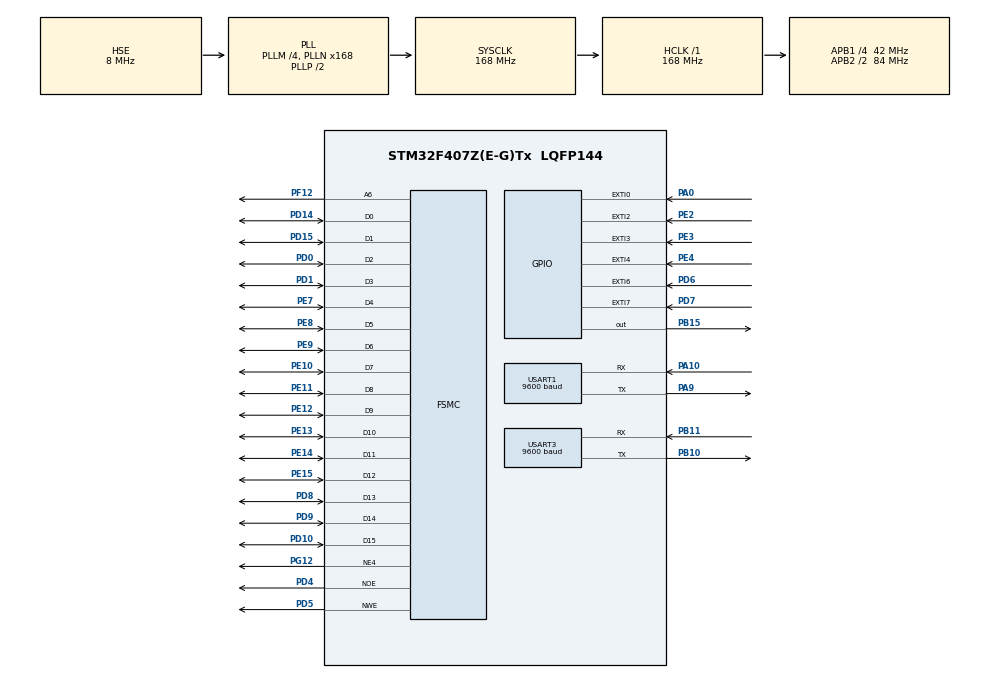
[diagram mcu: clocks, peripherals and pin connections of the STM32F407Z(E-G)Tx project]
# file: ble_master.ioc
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FSMC.BusTurnAroundDuration1=0
FSMC.DataSetupTime1=60
FSMC.ExtendedAddressSetupTime1=9
FSMC.ExtendedBusTurnAroundDuration1=0
FSMC.ExtendedDataSetupTime1=8
FSMC.ExtendedMode1=FSMC_EXTENDED_MODE_ENABLE
Mcu.Family=STM32F4
Mcu.Name=STM32F407Z(E-G)Tx
Mcu.Package=LQFP144
NVIC.EXTI0_IRQn=true\:4\:0\:true\:false\:true\:true\:true\:true
NVIC.EXTI2_IRQn=true\:3\:0\:true\:false\:true\:true\:true\:true
NVIC.EXTI3_IRQn=true\:2\:0\:true\:false\:true\:true\:true\:true
NVIC.EXTI4_IRQn=true\:1\:0\:true\:false\:true\:true\:true\:true
NVIC.EXTI9_5_IRQn=true\:5\:0\:true\:false\:true\:true\:true\:true
NVIC.PriorityGroup=NVIC_PRIORITYGROUP_4
NVIC.USART1_IRQn=true\:7\:0\:true\:false\:true\:true\:true\:true
NVIC.USART3_IRQn=true\:6\:0\:true\:false\:true\:true\:true\:true
PA0-WKUP.Signal=GPXTI0
PA10.Mode=Asynchronous
PA10.Signal=USART1_RX
PA13.Mode=Serial_Wire
PA13.Signal=SYS_JTMS-SWDIO
PA14.Mode=Serial_Wire
PA14.Signal=SYS_JTCK-SWCLK
PA9.Mode=Asynchronous
PA9.Signal=USART1_TX
PB10.Mode=Asynchronous
PB10.Signal=USART3_TX
PB11.Mode=Asynchronous
PB11.Signal=USART3_RX
PB15.GPIO_ModeDefaultOutputPP=GPIO_MODE_OUTPUT_PP
PB15.GPIO_PuPd=GPIO_NOPULL
PB15.GPIO_Speed=GPIO_SPEED_FREQ_VERY_HIGH
PB15.PinState=GPIO_PIN_SET
PB15.Signal=GPIO_Output
PC14-OSC32_IN.Mode=LSE-External-Oscillator
PC14-OSC32_IN.Signal=RCC_OSC32_IN
PC15-OSC32_OUT.Mode=LSE-External-Oscillator
PC15-OSC32_OUT.Signal=RCC_OSC32_OUT
PD0.Signal=FSMC_D2_DA2
PD1.Signal=FSMC_D3_DA3
PD10.Signal=FSMC_D15_DA15
PD14.Signal=FSMC_D0_DA0
PD15.Signal=FSMC_D1_DA1
PD4.Signal=FSMC_NOE
PD5.Signal=FSMC_NWE
PD6.GPIO_ModeDefaultEXTI=GPIO_MODE_IT_FALLING
PD6.GPIO_PuPd=GPIO_PULLUP
PD6.Signal=GPXTI6
PD7.GPIO_ModeDefaultEXTI=GPIO_MODE_IT_FALLING
PD7.GPIO_PuPd=GPIO_PULLUP
PD7.Signal=GPXTI7
PD8.Signal=FSMC_D13_DA13
PD9.Signal=FSMC_D14_DA14
PE10.Signal=FSMC_D7_DA7
PE11.Signal=FSMC_D8_DA8
PE12.Signal=FSMC_D9_DA9
PE13.Signal=FSMC_D10_DA10
PE14.Signal=FSMC_D11_DA11
PE15.Signal=FSMC_D12_DA12
PE2.GPIO_ModeDefaultEXTI=GPIO_MODE_IT_FALLING
PE2.GPIO_PuPd=GPIO_PULLUP
PE2.Signal=GPXTI2
PE3.GPIO_ModeDefaultEXTI=GPIO_MODE_IT_FALLING
PE3.GPIO_PuPd=GPIO_PULLUP
PE3.Signal=GPXTI3
PE4.GPIO_ModeDefaultEXTI=GPIO_MODE_IT_FALLING
PE4.GPIO_PuPd=GPIO_PULLUP
PE4.Signal=GPXTI4
PE7.Signal=FSMC_D4_DA4
PE8.Signal=FSMC_D5_DA5
PE9.Signal=FSMC_D6_DA6
PF12.Signal=FSMC_A6
PG12.Mode=NorPsramChipSelect4_1
PG12.Signal=FSMC_NE4
PH0-OSC_IN.Mode=HSE-External-Oscillator
PH0-OSC_IN.Signal=RCC_OSC_IN
PH1-OSC_OUT.Mode=HSE-External-Oscillator
PH1-OSC_OUT.Signal=RCC_OSC_OUT
ProjectManager.HeapSize=0x200
ProjectManager.StackSize=0x400
ProjectManager.TargetToolchain=MDK-ARM V5.32
RCC.48MHZClocksFreq_Value=84000000
RCC.AHBFreq_Value=168000000
RCC.APB1CLKDivider=RCC_HCLK_DIV4
RCC.APB1Freq_Value=42000000
RCC.APB1TimFreq_Value=84000000
RCC.APB2CLKDivider=RCC_HCLK_DIV2
RCC.APB2Freq_Value=84000000
RCC.APB2TimFreq_Value=168000000
RCC.CortexFreq_Value=21000000
RCC.Cortex_Div=SYSTICK_CLKSOURCE_HCLK_DIV8
RCC.HCLKFreq_Value=168000000
RCC.HSE_VALUE=8000000
RCC.HSI_VALUE=16000000
RCC.PLLM=4
RCC.PLLN=168
RCC.PLLSourceVirtual=RCC_PLLSOURCE_HSE
RCC.SYSCLKFreq_VALUE=168000000
RCC.SYSCLKSource=RCC_SYSCLKSOURCE_PLLCLK
RCC.VCOOutputFreq_Value=336000000
SH.FSMC_A6.0=FSMC_A6,A6_1
SH.FSMC_D0_DA0.0=FSMC_D0,16b-d1
SH.FSMC_D10_DA10.0=FSMC_D10,16b-d1
SH.FSMC_D11_DA11.0=FSMC_D11,16b-d1
SH.FSMC_D12_DA12.0=FSMC_D12,16b-d1
SH.FSMC_D13_DA13.0=FSMC_D13,16b-d1
SH.FSMC_D14_DA14.0=FSMC_D14,16b-d1
SH.FSMC_D15_DA15.0=FSMC_D15,16b-d1
SH.FSMC_D1_DA1.0=FSMC_D1,16b-d1
SH.FSMC_D2_DA2.0=FSMC_D2,16b-d1
SH.FSMC_D3_DA3.0=FSMC_D3,16b-d1
SH.FSMC_D4_DA4.0=FSMC_D4,16b-d1
SH.FSMC_D5_DA5.0=FSMC_D5,16b-d1
SH.FSMC_D6_DA6.0=FSMC_D6,16b-d1
SH.FSMC_D7_DA7.0=FSMC_D7,16b-d1
SH.FSMC_D8_DA8.0=FSMC_D8,16b-d1
SH.FSMC_D9_DA9.0=FSMC_D9,16b-d1
SH.FSMC_NOE.0=FSMC_NOE,Lcd1
SH.FSMC_NWE.0=FSMC_NWE,Lcd1
USART1.BaudRate=9600
USART1.OverSampling=UART_OVERSAMPLING_8
USART1.VirtualMode=VM_ASYNC
USART3.BaudRate=9600
USART3.OverSampling=UART_OVERSAMPLING_8
USART3.VirtualMode=VM_ASYNC
board=custom

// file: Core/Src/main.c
/* USER CODE BEGIN Header */
/**
  ******************************************************************************
  * @file           : main.c
  * @brief          : Main program body
  ******************************************************************************
  * @attention
  *
  * Copyright (c) 2025 STMicroelectronics.
  * All rights reserved.
  *
  * This software is licensed under terms that can be found in the LICENSE file
  * in the root directory of this software component.
  * If no LICENSE file comes with this software, it is provided AS-IS.
  *
  ******************************************************************************
  */
/* USER CODE END Header */
#include "main.h"
#include "usart.h"
#include "gpio.h"
#include "fsmc.h"

/* USER CODE BEGIN Includes */
#include "sys.h"
#include "delay.h"
#include "lcd.h"
#include "stdio.h"
#include "stm32f4xx_it.h"
/* USER CODE END Includes */

/* USER CODE BEGIN PV */
uint8_t a=1;

/* USER CODE END PV */

void SystemClock_Config(void);

int main(void)
{

  /* USER CODE BEGIN 1 */
	//u8 lcd_id[12];				//���LCD ID�ַ���

  /* USER CODE END 1 */

  /* MCU Configuration--------------------------------------------------------*/

  /* Reset of all peripherals, Initializes the Flash interface and the Systick. */
  HAL_Init();

  /* Configure the system clock */
  SystemClock_Config();

  /* Initialize all configured peripherals */
  MX_GPIO_Init();
  MX_FSMC_Init();
  MX_USART1_UART_Init();
  MX_USART3_UART_Init();
  /* USER CODE BEGIN 2 */
	delay_init(168);
	LCD_Init();
	LCD_Display_Dir(1);
	POINT_COLOR=BLACK;
	LCD_Clear(WHITE);
  /* USER CODE END 2 */

  /* Infinite loop */
  /* USER CODE BEGIN WHILE */

POINT_COLOR=BLUE;
Chinese_Show_one(0,0,0,24,0);
Chinese_Show_one(24,0,1,24,0);

POINT_COLOR=BLACK;
Chinese_Show_one(16,96+32,9,16,0);
Chinese_Show_one(32,96+32,10,16,0);
Chinese_Show_one(48,96+32,13,16,0);

Chinese_Show_one(16,160+48,11,16,0);
Chinese_Show_one(32,160+48,12,16,0);
Chinese_Show_one(48,160+48,13,16,0);

Chinese_Show_one(16,224+64,19,16,0);
Chinese_Show_one(32,224+64,20,16,0);
Chinese_Show_one(48,224+64,21,16,0);

Chinese_Show_one(200,32,0,16,0);
Chinese_Show_one(216,32,2,16,0);
Chinese_Show_one(264,32,25,16,0);

Chinese_Show_one(360,32,0,16,0);
Chinese_Show_one(376,32,3,16,0);
Chinese_Show_one(422,32,25,16,0);

Chinese_Show_one(200,316,1,16,0);
Chinese_Show_one(216,316,2,16,0);
Chinese_Show_one(264,316,25,16,0);

Chinese_Show_one(360,316,1,16,0);
Chinese_Show_one(376,316,3,16,0);
Chinese_Show_one(422,316,25,16,0);

LCD_ShowString(16,304,144,16,16,"(.01mm)");

Chinese_Show_one(360-80,400,0,24,0);
Chinese_Show_one(384-80,400,1,24,0);
Chinese_Show_one(408-80,400,19,24,0);
Chinese_Show_one(432-80,400,20,24,0);

Chinese_Show_one(360-110+324,400,2,24,0);
Chinese_Show_one(384-110+324,400,3,24,0);
Chinese_Show_one(408-110+324,400,4,24,0);
Chinese_Show_one(432-110+324,400,19,24,0);
Chinese_Show_one(432-86+324,400,20,24,0);

show_pic_car(224,64);
show_pic_arm(548,64);

LCD_ShowString(384-110+324,310,32,16,16,"2:");
LCD_ShowString(432-76+324,235,32,16,16,"1:");
LCD_ShowString(360-110+324,32,32,16,16,"4:");
LCD_ShowString(432-86+324,32,32,16,16,"3:");

Chinese_Show_one(384-110+324+64,310,22,16,0);
Chinese_Show_one(432-76+324+64,235,22,16,0);
Chinese_Show_one(360-110+324+64,32,22,16,0);
Chinese_Show_one(432-86+324+64,32,22,16,0);

  while (1)
  {
		while(current_car==0)
		{
			POINT_COLOR=BLUE;
			LCD_ShowString(48,0,24,24,24,"1");
			POINT_COLOR=RED;
			LCD_ShowNum(80,128,car_data1.ir_data,3,16);
		  LCD_ShowNum(80,192+16,car_data1.qr_code_data,3,16);
		  LCD_ShowNum(80,256+32,car_data1.ultra_sonic_distance,6,16);

			LCD_ShowNum(296,32,car_data1.car_speed1,3,16);
			LCD_ShowNum(438,32,car_data1.car_speed2,3,16);
			LCD_ShowNum(296,316,car_data1.car_speed3,3,16);
			LCD_ShowNum(438,316,car_data1.car_speed4,3,16);

			LCD_ShowNum(296,32,car_data1.car_speed1,3,16);
			LCD_ShowNum(438,32,car_data1.car_speed2,3,16);
			LCD_ShowNum(296,316,car_data1.car_speed3,3,16);
			LCD_ShowNum(438,316,car_data1.car_speed4,3,16);

			LCD_ShowNum(384-110+324+32,310,car_data1.arm_angle2,3,16);
			LCD_ShowNum(432-76+324+32,235,car_data1.arm_angle1,3,16);
			LCD_ShowNum(360-110+324+32,32,car_data1.arm_angle4,3,16);
			LCD_ShowNum(432-86+324+32,32,car_data1.arm_angle2,3,16);

			switch(car_data1.motor_state)
			{
				case 0xAA:LCD_Fill(248,32,264,48,WHITE);LCD_Fill(248,316,264,332,WHITE);LCD_Fill(376+32,32,376+48,48,WHITE);LCD_Fill(376+32,316,376+48,332,WHITE);POINT_COLOR=GREEN;Chinese_Show_one(248,32,23,16,0);Chinese_Show_one(376+32,32,23,16,0);Chinese_Show_one(216+32,316,23,16,0);Chinese_Show_one(376+32,316,23,16,0);break;
				case 0x99:LCD_Fill(248,32,264,48,WHITE);LCD_Fill(248,316,264,332,WHITE);LCD_Fill(376+32,32,376+48,48,WHITE);LCD_Fill(376+32,316,376+48,332,WHITE);POINT_COLOR=GREEN;Chinese_Show_one(248,32,23,16,0);POINT_COLOR=RED;Chinese_Show_one(376+32,32,24,16,0);POINT_COLOR=GREEN;Chinese_Show_one(216+32,316,23,16,0);POINT_COLOR=RED;Chinese_Show_one(376+32,316,24,16,0);break;
				case 0x55:LCD_Fill(248,32,264,48,WHITE);LCD_Fill(248,316,264,332,WHITE);LCD_Fill(376+32,32,376+48,48,WHITE);LCD_Fill(376+32,316,376+48,332,WHITE);POINT_COLOR=RED;Chinese_Show_one(248,32,24,16,0);POINT_COLOR=GREEN;Chinese_Show_one(376+32,32,23,16,0);POINT_COLOR=RED;Chinese_Show_one(216+32,316,24,16,0);POINT_COLOR=GREEN;Chinese_Show_one(376+32,316,23,16,0);break;
				case 0x00:LCD_Fill(248,32,264,48,WHITE);LCD_Fill(248,316,264,332,WHITE);LCD_Fill(376+32,32,376+48,48,WHITE);LCD_Fill(376+32,316,376+48,332,WHITE);POINT_COLOR=BLACK;Chinese_Show_one(248,32,26,16,0);Chinese_Show_one(376+32,32,26,16,0);Chinese_Show_one(216+32,316,26,16,0);Chinese_Show_one(376+32,316,26,16,0);break;
				default:break;
			}
			POINT_COLOR=BLACK;
			if(car_data1.arm_state==1){LCD_Fill(360-110+324,400+24,700,480,WHITE);POINT_COLOR=RED;Chinese_Show_one(360-110+324,400+24,14,24,0);Chinese_Show_one(360-110+324+24,400+24,15,24,0);}
			else if(car_data1.arm_state==2){LCD_Fill(360-110+324,400+24,700,480,WHITE);POINT_COLOR=RED;Chinese_Show_one(360-110+324,400+24,16,24,0);Chinese_Show_one(360-110+324+24,400+24,17,24,0);}
			else if(car_data1.arm_op_state== car_data1.arm_state){LCD_Fill(360-110+324+48,400+24,700,480,WHITE);POINT_COLOR=GREEN;Chinese_Show_one(360-110+324+48,400+24,6,24,0);Chinese_Show_one(360-110+324+72,400+24,7,24,0);}
			else{}
			POINT_COLOR=BLACK;

			if((car_data1.car_state==0)&&(car_data1.transport_done_flag==1)){LCD_Fill(360-80,400+24,550,480,WHITE);POINT_COLOR=GREEN;Chinese_Show_one(360-80,400+24,6,24,0);Chinese_Show_one(384-80,400+24,7,24,0);Chinese_Show_one(408-80,400+24,8,24,0);Chinese_Show_one(432-80,400+24,9,24,0);}
			else if(car_data1.car_state==0){LCD_Fill(360-80,400+24,550,480,WHITE);POINT_COLOR=RED;Chinese_Show_one(360-80,400+24,21,24,0);Chinese_Show_one(384-80,400+24,22,24,0);}
			else{LCD_Fill(360-80,400+24,550,480,WHITE);POINT_COLOR=BLACK;Chinese_Show_one(360-80,400+24,8,24,0);Chinese_Show_one(384-80,400+24,9,24,0);Chinese_Show_one(408-80,400+24,18,24,0);}
			POINT_COLOR=BLACK;
			delay_ms(150);
		}
		while(current_car==1)
		{
			POINT_COLOR=BLUE;
			LCD_ShowString(48,0,24,24,24,"2");
			POINT_COLOR=RED;
			LCD_ShowNum(80,128,car_data2.ir_data,3,16);
		  LCD_ShowNum(80,192+16,car_data2.qr_code_data,3,16);
		  LCD_ShowNum(80,256+32,car_data2.ultra_sonic_distance,6,16);

			LCD_ShowNum(296,32,car_data2.car_speed1,3,16);
			LCD_ShowNum(438,32,car_data2.car_speed2,3,16);
			LCD_ShowNum(296,316,car_data2.car_speed3,3,16);
			LCD_ShowNum(438,316,car_data2.car_speed4,3,16);

			LCD_ShowNum(296,32,car_data2.car_speed1,3,16);
			LCD_ShowNum(438,32,car_data2.car_speed2,3,16);
			LCD_ShowNum(296,316,car_data2.car_speed3,3,16);
			LCD_ShowNum(438,316,car_data2.car_speed4,3,16);

			LCD_ShowNum(384-110+324+32,310,car_data2.arm_angle2,3,16);
			LCD_ShowNum(432-76+324+32,235,car_data2.arm_angle1,3,16);
			LCD_ShowNum(360-110+324+32,32,car_data2.arm_angle4,3,16);
			LCD_ShowNum(432-86+324+32,32,car_data2.arm_angle2,3,16);

			switch(car_data2.motor_state)
			{
				case 0xAA:LCD_Fill(248,32,264,48,WHITE);LCD_Fill(248,316,264,332,WHITE);LCD_Fill(376+32,32,376+48,48,WHITE);LCD_Fill(376+32,316,376+48,332,WHITE);POINT_COLOR=GREEN;Chinese_Show_one(248,32,23,16,0);Chinese_Show_one(376+32,32,23,16,0);Chinese_Show_one(216+32,316,23,16,0);Chinese_Show_one(376+32,316,23,16,0);break;
				case 0x99:LCD_Fill(248,32,264,48,WHITE);LCD_Fill(248,316,264,332,WHITE);LCD_Fill(376+32,32,376+48,48,WHITE);LCD_Fill(376+32,316,376+48,332,WHITE);POINT_COLOR=GREEN;Chinese_Show_one(248,32,23,16,0);POINT_COLOR=RED;Chinese_Show_one(376+32,32,24,16,0);POINT_COLOR=GREEN;Chinese_Show_one(216+32,316,23,16,0);POINT_COLOR=RED;Chinese_Show_one(376+32,316,24,16,0);break;
				case 0x55:LCD_Fill(248,32,264,48,WHITE);LCD_Fill(248,316,264,332,WHITE);LCD_Fill(376+32,32,376+48,48,WHITE);LCD_Fill(376+32,316,376+48,332,WHITE);POINT_COLOR=RED;Chinese_Show_one(248,32,24,16,0);POINT_COLOR=GREEN;Chinese_Show_one(376+32,32,23,16,0);POINT_COLOR=RED;Chinese_Show_one(216+32,316,24,16,0);POINT_COLOR=GREEN;Chinese_Show_one(376+32,316,23,16,0);break;
				case 0x00:LCD_Fill(248,32,264,48,WHITE);LCD_Fill(248,316,264,332,WHITE);LCD_Fill(376+32,32,376+48,48,WHITE);LCD_Fill(376+32,316,376+48,332,WHITE);POINT_COLOR=BLACK;Chinese_Show_one(248,32,26,16,0);Chinese_Show_one(376+32,32,26,16,0);Chinese_Show_one(216+32,316,26,16,0);Chinese_Show_one(376+32,316,26,16,0);break;
				default:break;
			}
			POINT_COLOR=BLACK;
			if(car_data2.arm_state==1){LCD_Fill(360-110+324,400+24,700,480,WHITE);POINT_COLOR=RED;Chinese_Show_one(360-110+324,400+24,14,24,0);Chinese_Show_one(360-110+324+24,400+24,15,24,0);}
			else if(car_data2.arm_state==2){LCD_Fill(360-110+324,400+24,700,480,WHITE);POINT_COLOR=RED;Chinese_Show_one(360-110+324,400+24,16,24,0);Chinese_Show_one(360-110+324+24,400+24,17,24,0);}
			else if(car_data2.arm_op_state== car_data2.arm_state){LCD_Fill(360-110+324+48,400+24,700,480,WHITE);POINT_COLOR=GREEN;Chinese_Show_one(360-110+324+48,400+24,6,24,0);Chinese_Show_one(360-110+324+72,400+24,7,24,0);}
			else{}
			POINT_COLOR=BLACK;

			if((car_data2.car_state==0)&&(car_data2.transport_done_flag==1)){LCD_Fill(360-80,400+24,550,480,WHITE);POINT_COLOR=GREEN;Chinese_Show_one(360-80,400+24,6,24,0);Chinese_Show_one(384-80,400+24,7,24,0);Chinese_Show_one(408-80,400+24,8,24,0);Chinese_Show_one(432-80,400+24,9,24,0);}
			else if(car_data2.car_state==0){LCD_Fill(360-80,400+24,550,480,WHITE);POINT_COLOR=RED;Chinese_Show_one(360-80,400+24,21,24,0);Chinese_Show_one(384-80,400+24,22,24,0);}
			else{LCD_Fill(360-80,400+24,550,480,WHITE);POINT_COLOR=BLACK;Chinese_Show_one(360-80,400+24,8,24,0);Chinese_Show_one(384-80,400+24,9,24,0);Chinese_Show_one(408-80,400+24,18,24,0);}
			POINT_COLOR=BLACK;
			delay_ms(150);

		}
    /* USER CODE END WHILE */

  }
}

void SystemClock_Config(void)
{
  RCC_OscInitTypeDef RCC_OscInitStruct = {0};
  RCC_ClkInitTypeDef RCC_ClkInitStruct = {0};

  /** Configure the main internal regulator output voltage
  */
  __HAL_RCC_PWR_CLK_ENABLE();
  __HAL_PWR_VOLTAGESCALING_CONFIG(PWR_REGULATOR_VOLTAGE_SCALE1);

  /** Initializes the RCC Oscillators according to the specified parameters
  * in the RCC_OscInitTypeDef structure.
  */
  RCC_OscInitStruct.OscillatorType = RCC_OSCILLATORTYPE_HSE;
  RCC_OscInitStruct.HSEState = RCC_HSE_ON;
  RCC_OscInitStruct.PLL.PLLState = RCC_PLL_ON;
  RCC_OscInitStruct.PLL.PLLSource = RCC_PLLSOURCE_HSE;
  RCC_OscInitStruct.PLL.PLLM = 4;
  RCC_OscInitStruct.PLL.PLLN = 168;
  RCC_OscInitStruct.PLL.PLLP = RCC_PLLP_DIV2;
  RCC_OscInitStruct.PLL.PLLQ = 4;
  if (HAL_RCC_OscConfig(&RCC_OscInitStruct) != HAL_OK)
  {
    Error_Handler();
  }

  /** Initializes the CPU, AHB and APB buses clocks
  */
  RCC_ClkInitStruct.ClockType = RCC_CLOCKTYPE_HCLK|RCC_CLOCKTYPE_SYSCLK
                              |RCC_CLOCKTYPE_PCLK1|RCC_CLOCKTYPE_PCLK2;
  RCC_ClkInitStruct.SYSCLKSource = RCC_SYSCLKSOURCE_PLLCLK;
  RCC_ClkInitStruct.AHBCLKDivider = RCC_SYSCLK_DIV1;
  RCC_ClkInitStruct.APB1CLKDivider = RCC_HCLK_DIV4;
  RCC_ClkInitStruct.APB2CLKDivider = RCC_HCLK_DIV2;

  if (HAL_RCC_ClockConfig(&RCC_ClkInitStruct, FLASH_LATENCY_5) != HAL_OK)
  {
    Error_Handler();
  }
}

void Error_Handler(void)
{
  __disable_irq();
  while (1)
  {
  }
}
